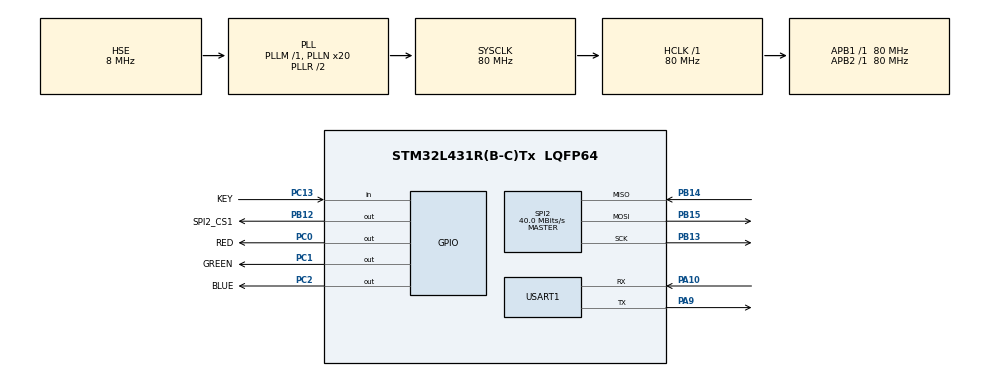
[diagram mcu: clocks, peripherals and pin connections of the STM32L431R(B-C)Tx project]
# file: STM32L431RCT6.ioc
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Mcu.Family=STM32L4
Mcu.Name=STM32L431R(B-C)Tx
Mcu.Package=LQFP64
NVIC.PriorityGroup=NVIC_PRIORITYGROUP_4
PA10.Mode=Asynchronous
PA10.Signal=USART1_RX
PA13\ (JTMS-SWDIO).Mode=Serial_Wire
PA13\ (JTMS-SWDIO).Signal=SYS_JTMS-SWDIO
PA14\ (JTCK-SWCLK).Mode=Serial_Wire
PA14\ (JTCK-SWCLK).Signal=SYS_JTCK-SWCLK
PA9.Mode=Asynchronous
PA9.Signal=USART1_TX
PB12.GPIO_Label=SPI2_CS1
PB12.GPIO_PuPd=GPIO_PULLUP
PB12.GPIO_Speed=GPIO_SPEED_FREQ_VERY_HIGH
PB12.PinState=GPIO_PIN_SET
PB12.Signal=GPIO_Output
PB13.Mode=Full_Duplex_Master
PB13.Signal=SPI2_SCK
PB14.Mode=Full_Duplex_Master
PB14.Signal=SPI2_MISO
PB15.Mode=Full_Duplex_Master
PB15.Signal=SPI2_MOSI
PC0.GPIO_Label=RED
PC0.GPIO_PuPd=GPIO_PULLUP
PC0.PinState=GPIO_PIN_SET
PC0.Signal=GPIO_Output
PC1.GPIO_Label=GREEN
PC1.GPIO_PuPd=GPIO_PULLUP
PC1.PinState=GPIO_PIN_SET
PC1.Signal=GPIO_Output
PC13.GPIO_Label=KEY
PC13.GPIO_Mode=GPIO_MODE_INPUT
PC13.GPIO_PuPd=GPIO_PULLUP
PC13.Signal=GPIO_Input
PC2.GPIO_Label=BLUE
PC2.GPIO_PuPd=GPIO_PULLUP
PC2.PinState=GPIO_PIN_SET
PC2.Signal=GPIO_Output
PH0-OSC_IN\ (PH0).Mode=HSE-External-Oscillator
PH0-OSC_IN\ (PH0).Signal=RCC_OSC_IN
PH1-OSC_OUT\ (PH1).Mode=HSE-External-Oscillator
PH1-OSC_OUT\ (PH1).Signal=RCC_OSC_OUT
ProjectManager.HeapSize=0x200
ProjectManager.StackSize=0x400
ProjectManager.TargetToolchain=MDK-ARM V5.27
RCC.ADCFreq_Value=32000000
RCC.AHBFreq_Value=80000000
RCC.APB1Freq_Value=80000000
RCC.APB1TimFreq_Value=80000000
RCC.APB2Freq_Value=80000000
RCC.APB2TimFreq_Value=80000000
RCC.CortexFreq_Value=80000000
RCC.HCLKFreq_Value=80000000
RCC.HSE_VALUE=8000000
RCC.HSI48_VALUE=48000000
RCC.HSI_VALUE=16000000
RCC.LSE_VALUE=32768
RCC.MSI_VALUE=4000000
RCC.PLLN=20
RCC.PLLSourceVirtual=RCC_PLLSOURCE_HSE
RCC.SYSCLKFreq_VALUE=80000000
RCC.SYSCLKSource=RCC_SYSCLKSOURCE_PLLCLK
RCC.VCOOutputFreq_Value=160000000
SPI2.CalculateBaudRate=40.0 MBits/s
SPI2.DataSize=SPI_DATASIZE_8BIT
SPI2.Direction=SPI_DIRECTION_2LINES
SPI2.Mode=SPI_MODE_MASTER
SPI2.VirtualType=VM_MASTER
USART1.VirtualMode-Asynchronous=VM_ASYNC
board=custom

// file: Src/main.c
/* USER CODE BEGIN Header */
/**
  ******************************************************************************
  * @file           : main.c
  * @brief          : Main program body
  ******************************************************************************
  * @attention
  *
  * <h2><center>&copy; Copyright (c) 2020 STMicroelectronics.
  * All rights reserved.</center></h2>
  *
  * This software component is licensed by ST under BSD 3-Clause license,
  * the "License"; You may not use this file except in compliance with the
  * License. You may obtain a copy of the License at:
  *                        opensource.org/licenses/BSD-3-Clause
  *
  ******************************************************************************
  */
/* USER CODE END Header */
#include "main.h"
#include "spi.h"
#include "usart.h"
#include "gpio.h"

/* USER CODE BEGIN Includes */
#include "BSP_GPIO.h"
#include "BSP_USART.h"
#include "stdio.h"
#include "BSP_spi.h"
#include "w25qxx.h"
/* USER CODE END Includes */

void SystemClock_Config(void);

/* USER CODE BEGIN 0 */
const u8 TEXT_Buffer[]= {"BORING-TECH STM32 SPI TEST"};
#define SIZE sizeof(TEXT_Buffer)
/* USER CODE END 0 */

int main(void)
{
  /* USER CODE BEGIN 1 */
	u8 key;

	u8 mode;
	u16 i=0;
	u8 datatemp[SIZE];
	u32 flash_size;
  /* USER CODE END 1 */

  /* MCU Configuration--------------------------------------------------------*/

  /* Reset of all peripherals, Initializes the Flash interface and the Systick. */
  HAL_Init();

  /* Configure the system clock */
  SystemClock_Config();

  /* Initialize all configured peripherals */
  MX_GPIO_Init();
  MX_SPI2_Init();
  MX_USART1_UART_Init();
  /* USER CODE BEGIN 2 */
	__HAL_SPI_ENABLE(&hspi2);
  SPI2_ReadWriteByte(0Xff);
	W25QXX_Init();
	while(W25QXX_ReadID()!=W25Q64)
	{
			HAL_Delay(500);
			HAL_GPIO_TogglePin(RED_GPIO_Port ,RED_Pin );
	}
	printf("SPI Ready \r\n");

	flash_size=8*1024*1024;	//FLASH 大小为4M字节
  /* USER CODE END 2 */

  /* Infinite loop */
  /* USER CODE BEGIN WHILE */
  while (1)
  {
		if(key&&(mode==0)&&(HAL_GPIO_ReadPin(KEY_GPIO_Port,KEY_Pin)==0))
		{
			key=0;
			mode=1;
 			printf("Start Write SPI....\r\n");
			W25QXX_Write((u8*)TEXT_Buffer,flash_size-100,SIZE);		//从倒数第100个地址处开始,写入SIZE长度的数据
			printf("SPI Write Finished!\r\n");	//提示传送完成
		}
		else if(HAL_GPIO_ReadPin(KEY_GPIO_Port,KEY_Pin)==1)
			key=1;

		if(key&&(mode==1)&&(HAL_GPIO_ReadPin(KEY_GPIO_Port,KEY_Pin)==0))
		{
			key=0;
			mode=0;
 			printf("Start Read SPI.... \r\n");
			W25QXX_Read(datatemp,flash_size-100,SIZE);					//从倒数第100个地址处开始,读出SIZE个字节
			printf("The Data Readed Is:   \r\n");	//提示传送完成
			HAL_UART_Transmit(&huart1,(uint8_t*)datatemp,SIZE,1000);
			printf("\r\n\r\n");
		}
		else if(HAL_GPIO_ReadPin(KEY_GPIO_Port,KEY_Pin)==1)
			key=1;

		i++;
		HAL_Delay(10);
		if(i==100)
		{
			HAL_GPIO_TogglePin(GREEN_GPIO_Port,GREEN_Pin);
			i=0;
		}
    /* USER CODE END WHILE */

  }
}

void SystemClock_Config(void)
{
  RCC_OscInitTypeDef RCC_OscInitStruct = {0};
  RCC_ClkInitTypeDef RCC_ClkInitStruct = {0};

  /** Configure the main internal regulator output voltage
  */
  if (HAL_PWREx_ControlVoltageScaling(PWR_REGULATOR_VOLTAGE_SCALE1) != HAL_OK)
  {
    Error_Handler();
  }

  /** Initializes the RCC Oscillators according to the specified parameters
  * in the RCC_OscInitTypeDef structure.
  */
  RCC_OscInitStruct.OscillatorType = RCC_OSCILLATORTYPE_HSE;
  RCC_OscInitStruct.HSEState = RCC_HSE_ON;
  RCC_OscInitStruct.PLL.PLLState = RCC_PLL_ON;
  RCC_OscInitStruct.PLL.PLLSource = RCC_PLLSOURCE_HSE;
  RCC_OscInitStruct.PLL.PLLM = 1;
  RCC_OscInitStruct.PLL.PLLN = 20;
  RCC_OscInitStruct.PLL.PLLP = RCC_PLLP_DIV7;
  RCC_OscInitStruct.PLL.PLLQ = RCC_PLLQ_DIV2;
  RCC_OscInitStruct.PLL.PLLR = RCC_PLLR_DIV2;
  if (HAL_RCC_OscConfig(&RCC_OscInitStruct) != HAL_OK)
  {
    Error_Handler();
  }

  /** Initializes the CPU, AHB and APB buses clocks
  */
  RCC_ClkInitStruct.ClockType = RCC_CLOCKTYPE_HCLK|RCC_CLOCKTYPE_SYSCLK
                              |RCC_CLOCKTYPE_PCLK1|RCC_CLOCKTYPE_PCLK2;
  RCC_ClkInitStruct.SYSCLKSource = RCC_SYSCLKSOURCE_PLLCLK;
  RCC_ClkInitStruct.AHBCLKDivider = RCC_SYSCLK_DIV1;
  RCC_ClkInitStruct.APB1CLKDivider = RCC_HCLK_DIV1;
  RCC_ClkInitStruct.APB2CLKDivider = RCC_HCLK_DIV1;

  if (HAL_RCC_ClockConfig(&RCC_ClkInitStruct, FLASH_LATENCY_4) != HAL_OK)
  {
    Error_Handler();
  }
}

void Error_Handler(void)
{
}
